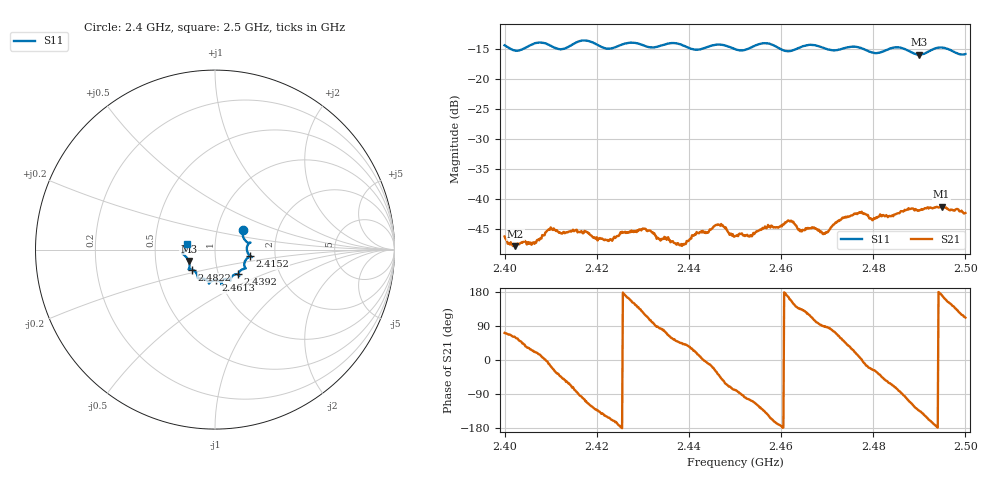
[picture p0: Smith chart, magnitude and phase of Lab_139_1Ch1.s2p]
# Hz S RI R 50
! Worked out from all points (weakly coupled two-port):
!   601 points, 2.4 GHz to 2.5 GHz, reference 50 ohm
!   highest |S21| = -41.32 dB at 2.4948 GHz (marker M1); lowest = -47.9 dB at 2.4023 GHz (marker M2)
!   lowest |S11| = -15.9 dB at 2.49 GHz (marker M3), VSWR 1.38, Z = 37 - j4.83 ohm
!   |S11| at or under -10 dB: start of sweep to end of sweep
!   S12 and S22 are empty: the file has one direction only
!   S11 on the Smith chart (normalised r, x): 2.4 GHz: 1.33, +0.31; 2.4152 GHz: 1.48, -0.11; 2.4392 GHz: 1.24, -0.35; 2.4613 GHz: 0.96, -0.34; 2.4822 GHz: 0.76, -0.17; 2.5 GHz: 0.73, +0.05
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2.4e9  0.156 0.1105  0.00154 0.0046  0 0  0 0
2.402333e9  0.1568 0.0717  0.00205 0.00347  0 0  0 0
2.406333e9  0.1937 0.0367  0.00403 0.00162  0 0  0 0
2.409833e9  0.188 0.0337  0.00537 -0.00132  0 0  0 0
2.415167e9  0.195 -0.0362  0.00104 -0.00528  0 0  0 0
2.416667e9  0.2046 -0.0422  -0.000603 -0.00536  0 0  0 0
2.422833e9  0.1646 -0.0711  -0.00411 -0.00205  0 0  0 0
2.430167e9  0.1567 -0.1086  -0.00304 0.0047  0 0  0 0
2.433333e9  0.1323 -0.1322  0.000277 0.00471  0 0  0 0
2.439167e9  0.127 -0.1378  0.00321 0.00274  0 0  0 0
2.446167e9  0.0858 -0.1738  0.00492 -0.00351  0 0  0 0
2.45e9  0.0687 -0.1639  0.000902 -0.0048  0 0  0 0
2.456667e9  0.039 -0.1953  -0.00439 -0.00377  0 0  0 0
2.461333e9  0.0069 -0.1705  -0.0064 0.00119  0 0  0 0
2.466667e9  -0.0336 -0.1898  -0.00221 0.00534  0 0  0 0
2.4695e9  -0.0393 -0.1758  6.52e-05 0.0051  0 0  0 0
2.476333e9  -0.0945 -0.1597  0.00725 0.00209  0 0  0 0
2.482167e9  -0.1281 -0.1117  0.00492 -0.00542  0 0  0 0
2.483333e9  -0.1393 -0.1101  0.00357 -0.00621  0 0  0 0
2.49e9  -0.1464 -0.0637  -0.00557 -0.00572  0 0  0 0
2.494833e9  -0.1819 -0.0214  -0.0085 0.00124  0 0  0 0
2.5e9  -0.158 0.0338  -0.00283 0.00708  0 0  0 0
